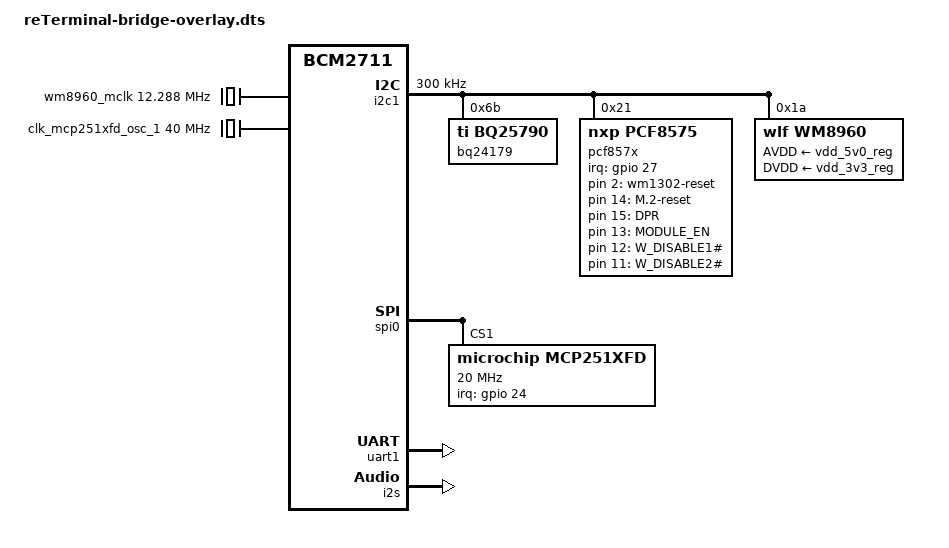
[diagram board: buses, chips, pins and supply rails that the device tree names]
/*
 * Copyright (C) 2021 Seeed Studio
 * xiong jian <953308023@qq.com>
 *
 * MIT License
 *
 */
/dts-v1/;
/plugin/;

/ {
    compatible = "brcm,bcm2835", "brcm,bcm2708", "brcm,bcm2709", "brcm,bcm2711";

        fragment@0 {
                target = <&i2c1>;
                __overlay__ {
                        status = "okay";

                        /* this is the configuration part */
                        clock-frequency = <300000>;

                        #address-cells = <1>;
                        #size-cells = <0>;

                        bq24179: bq24179@6b {
                                compatible = "ti,bq25790";
                                reg = <0x6b>;
                                status = "okay";
                        };

                };
        };

        fragment@1 {
                target = <&gpio>;
                __overlay__ {
                        pcf857x_pins: pcf857x_pins@21 {
                                brcm,pins = <27>;     /* gpio number */
                                brcm,function = <0>; /* 0 = input, 1 = output */
                                brcm,pull = <2>;     /* 0 = none, 1 = pull down, 2 = pull up */
                        };
                };
        };

        fragment@2 {
                target = <&pcf857x>;
                pcf857x_irq: __overlay__ {
                        #interrupt-cells=<2>;
                        interrupt-parent = <&gpio>;
                        interrupts = <27 2>; /* IRQ_TYPE_EDGE_FALLING */
                        interrupt-controller;
                        microchip,irq-mirror;
                };
        };

        fragment@3 {
                target = <&i2c1>;
                __overlay__ {
                        status = "okay";

                        /* this is the configuration part */
                        clock-frequency = <300000>;

                        #address-cells = <1>;
                        #size-cells = <0>;

                        pcf857x: pcf@21 {
                                compatible = "nxp,pcf8575";
                                reg = <0x21>;
                                status = "okay";

                                gpio-controller;
                                #gpio-cells = <2>;

                        };

                };
        };

        fragment@4 {
                target = <&leds>;
                __overlay__ {
                        compatible = "gpio-leds";

                        usr_led10: usr_led10 {
                                label = "wm1302-reset";
                                linux,default-trigger = "default-off";
                                gpios = <&pcf857x 2 0>;
                                default-state = "on";
                        };
			
                        usr_led11: usr_led11 {
                                label = "M.2-reset";
                                linux,default-trigger = "default-off";
                                gpios = <&pcf857x 14 0>;
                                default-state = "on";
                        };

                        usr_led12: usr_led12 {
                                label = "DPR";
                                linux,default-trigger = "default-off";
                                gpios = <&pcf857x 15 0>;
                                default-state = "on";
                        };

                        usr_led13: usr_led13 {
                                label = "MODULE_EN";
                                linux,default-trigger = "default-off";
                                gpios = <&pcf857x 13 0>;
                                default-state = "on";
                        };
                        usr_led14: usr_led14 {
                                label = "W_DISABLE1#";
                                linux,default-trigger = "default-off";
                                gpios = <&pcf857x 12 0>;
                                default-state = "on";
                        };
                        usr_led15: usr_led15 {
                                label = "W_DISABLE2#";
                                linux,default-trigger = "default-off";
                                gpios = <&pcf857x 11 0>;
                                default-state = "on";
                        };
                };
        };

        fragment@5 {
                target = <&spidev1>;
                __overlay__ {
                        status = "disabled";
                };
        };
        fragment@6 {
                target = <&gpio>;
                __overlay__ {
                        mcp251xfd_pins_1: mcp251xfd_spi0_1_pins {
                                brcm,pins = <24>;
                                brcm,function = <0>;//BCM2835_FSEL_GPIO_IN 
                        };
                };
        };
        fragment@7 {
                target-path = "/clocks";
                __overlay__ {
                        clk_mcp251xfd_osc_1: mcp251xfd-spi0-1-osc {
                                #clock-cells = <0>;
                                compatible = "fixed-clock";
                                clock-frequency = <40000000>;
                        };
                };
        };
        fragment@8 {
                target = <&spi0>;
                __overlay__ {
                        status = "okay";
                        #address-cells = <1>;
                        #size-cells = <0>;
                        mcp251xfd@1 {
                                compatible = "microchip,mcp251xfd";
                                reg = <1>;
                                pinctrl-names = "default";
                                pinctrl-0 = <&mcp251xfd_pins_1>;
                                spi-max-frequency = <20000000>;
                                interrupt-parent = <&gpio>;
                                interrupts = <24 8>;//IRQ_TYPE_LEVEL_LOW 
                                clocks = <&clk_mcp251xfd_osc_1>;
                        };
                };
        };

        fragment@9 {
                target = <&uart1>;
                __overlay__ {
                        pinctrl-names = "default";
                        pinctrl-0 = <&uart1_pins>;
                        status = "okay";
                };
        };

        fragment@a {
                target = <&gpio>;
                __overlay__ {
                        uart1_pins: uart1_pins {
                                brcm,pins = <14 15 16 17>;
                                brcm,function = <2>; /* alt5 */
                                brcm,pull = <0 2 2 0>;
                        };
                };
        };

        fragment@b {
                target = <&i2s>;
                __overlay__ {
                        status = "okay";
                };
        };

        fragment@c {
                target-path="/";
                __overlay__ {
                        wm8960_mclk: wm8960_mclk {
                                compatible = "fixed-clock";
                                #clock-cells = <0>;
                                clock-frequency = <12288000>;
                        };
                };
        };
        fragment@d {
                target = <&i2c1>;
                __overlay__ {
                        #address-cells = <1>;
                        #size-cells = <0>;
                        status = "okay";

                        wm8960: wm8960 {
                                compatible = "wlf,wm8960";
                                reg = <0x1a>;
                                #sound-dai-cells = <0>;
                                AVDD-supply = <&vdd_5v0_reg>;
                                DVDD-supply = <&vdd_3v3_reg>;
                        };
                };
        };

        fragment@e {
                target = <&sound>;
                slave_overlay: __overlay__ {
                        compatible = "simple-audio-card";
                        simple-audio-card,format = "i2s";
                        simple-audio-card,name = "seeed2micvoicec";
                        status = "okay";

                        simple-audio-card,widgets =
                                "Microphone", "Mic Jack",
                                "Line", "Line In",
                                "Line", "Line Out",
                                "Speaker", "Speaker",
                                "Headphone", "Headphone Jack";
                        simple-audio-card,routing =
                                "Headphone Jack", "HP_L",
                                "Headphone Jack", "HP_R",
                                "Speaker", "SPK_LP",
                                "Speaker", "SPK_LN",
                                "LINPUT1", "Mic Jack",
                                "LINPUT3", "Mic Jack",
                                "RINPUT1", "Mic Jack",
                                "RINPUT2", "Mic Jack";

                        simple-audio-card,cpu {
                                sound-dai = <&i2s>;
                        };
                        dailink0_slave: simple-audio-card,codec {
                                sound-dai = <&wm8960>;
                                clocks = <&wm8960_mclk>;
                                clock-names = "mclk";
                        };
                };
        };

        __overrides__ {
                int = <&pcf857x_pins>,"brcm,pins:0",
                                <&pcf857x_irq>,"interrupts:0";
                addr = <&pcf857x>,"reg:0",
                                <&pcf857x_pins>,"reg:0";
                noints = <0>,"!1!2";
	        alsaname = <&slave_overlay>,"simple-audio-card,name";
                compatible = <&wm8960>,"compatible";
        };


};

